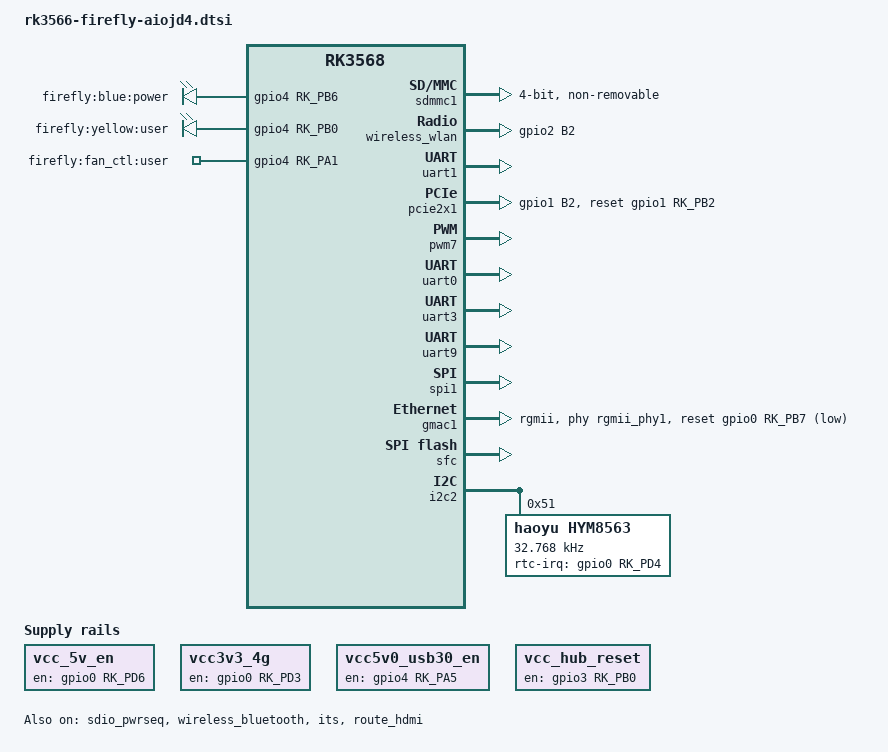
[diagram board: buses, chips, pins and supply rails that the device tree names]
// SPDX-License-Identifier: (GPL-2.0+ OR MIT)
/*
 * Copyright (c) 2020 Rockchip Electronics Co., Ltd.
 *
 */

#include "rk3568-firefly-port.dtsi"
#include "rk3566-diff.dtsi"

/ {
    vcc_5v_en: vcc-5v-regulator {
       compatible = "regulator-fixed";
       enable-active-high;
       regulator-always-on;
       regulator-boot-on;
       gpio = <&gpio0 RK_PD6 GPIO_ACTIVE_HIGH>;
       pinctrl-names = "default";
       pinctrl-0 = <&vcc_5v_drv>;
       regulator-name = "vcc_5v_en";
    };

    vcc3v3_4g: vcc3v3-4g-regulator {
       compatible = "regulator-fixed";
       enable-active-high;
       regulator-always-on;
       regulator-boot-on;
       gpio = <&gpio0 RK_PD3 GPIO_ACTIVE_HIGH>;
       pinctrl-names = "default";
       pinctrl-0 = <&pcie_4g_drv>;
       regulator-name = "vcc3v3_4g";
    };

    vcc5v0_usb30_en: vcc5v0-usb30-regulator {
       compatible = "regulator-fixed";
       enable-active-high;
       regulator-always-on;
       regulator-boot-on;
       gpio = <&gpio4 RK_PA5 GPIO_ACTIVE_HIGH>;
       pinctrl-names = "default";
       pinctrl-0 = <&vcc5v0_usb30_drv>;
       regulator-name = "vcc5v0_usb30_en";
    };

    vcc_hub_reset: vcc-hub-reset-regulator {
            compatible = "regulator-fixed";
            enable-active-high;
            gpio = <&gpio3 RK_PB0 GPIO_ACTIVE_HIGH>;
            pinctrl-names = "default";
            pinctrl-0 = <&vcc_hub_reset_en>;
            regulator-name = "vcc_hub_reset_en";
            regulator-always-on;
    };

    firefly_leds: leds {
        status = "okay";
        compatible = "gpio-leds";
        pinctrl-names = "default";
        pinctrl-0 =<&leds_gpio>;
        power_led: power {
            label = "firefly:blue:power";
            linux,default-trigger = "ir-power-click";
            default-state = "on";
            gpios = <&gpio4 RK_PB6 GPIO_ACTIVE_HIGH>;
        };

        user_led: user {
            label = "firefly:yellow:user";
            linux,default-trigger = "ir-user-click";
            default-state = "off";
            gpios = <&gpio4 RK_PB0 GPIO_ACTIVE_HIGH>;
        };
        fan_ctl: fan-ctl {
            label = "firefly:fan_ctl:user";
            linux,default-trigger = "ir-user-click";
            default-state = "on";
            gpios = <&gpio4 RK_PA1 GPIO_ACTIVE_HIGH>;
        };
    };
};

/* USB vbus config  */
&vcc5v0_host {
    gpio = <&gpio3 RK_PD2 0>;
    pinctrl-names = "default";
    pinctrl-0 = <&vcc5v0_host_vbus_en>;
};
&vcc5v0_otg {
    gpio = <&gpio3 RK_PD1 0>;
    pinctrl-names = "default";
    pinctrl-0 = <&vcc5v0_otg_vbus_en>;
};

/* WiFi config */
&sdmmc1 {
    max-frequency = <150000000>;
    supports-sdio;
    bus-width = <4>;
    disable-wp;
    cap-sd-highspeed;
    cap-sdio-irq;
    keep-power-in-suspend;
    mmc-pwrseq = <&sdio_pwrseq>;
    non-removable;
    pinctrl-names = "default";
    pinctrl-0 = <&sdmmc1_bus4 &sdmmc1_cmd &sdmmc1_clk>;
    sd-uhs-sdr104;
    rockchip,default-sample-phase = <90>;
    status = "okay";
};

&sdio_pwrseq {
    reset-gpios = <&gpio2 RK_PB1 GPIO_ACTIVE_LOW>;
    status = "okay";
};

&wifi_enable_h {
    rockchip,pins = <2 RK_PB1 RK_FUNC_GPIO &pcfg_pull_none>;
};

// iomux with GPIO2_B2(WIFI,host_wake_irq)
&uart8 {
    status = "disabled";
};

&wireless_wlan {
    wifi_chip_type = "ap6255";
    pinctrl-names = "default";
    pinctrl-0 = <&wifi_host_wake_irq>;
    //WIFI,poweren_gpio = <&gpio3 29 0>;
    WIFI,host_wake_irq = <&gpio2 RK_PB2 0>;
    status = "okay";
};

/* BT config */
&uart1 {
    pinctrl-names = "default";
    pinctrl-0 = <&uart1m0_xfer &uart1m0_ctsn>;
    status = "okay";
};

&wireless_bluetooth {
    uart_rts_gpios = <&gpio2 RK_PB5 GPIO_ACTIVE_LOW>;
    pinctrl-names = "default", "rts_gpio";
    pinctrl-0 = <&uart1m0_rtsn
        &bt_host_wake_gpio
        &bt_poweren
        &bt_host_wake_irq>;
    pinctrl-1 = <&uart1_rts_gpio>;
    BT,reset_gpio    = <&gpio2 RK_PB7 GPIO_ACTIVE_HIGH>;
    BT,wake_gpio     = <&gpio2 RK_PC1 GPIO_ACTIVE_HIGH>;
    BT,wake_host_irq = <&gpio2 RK_PC0 GPIO_ACTIVE_HIGH>;
    status = "okay";
};

&rk809_codec {
    hp-ctl-gpios = <&gpio3 RK_PD0 GPIO_ACTIVE_HIGH>;
    spk-ctl = <&gpio1 RK_PA4 GPIO_ACTIVE_HIGH>;
    io-channels = <&saradc 2>;
    hp-det-adc-value = <200>;
    hp-adc-drift-scope = <200>;
};
&spk_ctl_gpio{
	rockchip,pins = <1 RK_PA4 RK_FUNC_GPIO &pcfg_pull_up>;
};
&can1{
	status = "disabled";
};

&pcie2x1 {
    reset-gpios = <&gpio1 RK_PB2 GPIO_ACTIVE_HIGH>;
    pinctrl-names = "default";
    pinctrl-0 = <&pcie_reset_gpio>;
    /delete-property/ vpcie3v3-supply;
    status = "okay";
};

&sata2 {
    status = "disabled";
};

&its {
    status = "okay";
};

&pwm7 {
    status = "okay";
};

&uart0 {
    status = "okay";
};

&uart3 {
    pinctrl-0 = <&uart3m0_xfer>;
    status = "okay";
};

&uart9 {
    pinctrl-0 = <&uart9m1_xfer>;
    status = "okay";
};

&spi1 {
        status = "okay";
};

&pinctrl {
	vcc_5v {
		vcc_5v_drv: vcc-5v-drv{
			rockchip,pins = <0 RK_PD6 RK_FUNC_GPIO &pcfg_pull_up>;
		};
	};
	usb {
		vcc5v0_otg_vbus_en: vcc5v0-vbus-en {
			rockchip,pins = <3 RK_PD1 RK_FUNC_GPIO &pcfg_pull_none>;
		};
		vcc5v0_host_vbus_en: vcc5v0-host-en {
			rockchip,pins = <3 RK_PD2 RK_FUNC_GPIO &pcfg_pull_none>;
		};
	};

    wireless-wlan {
        wifi_host_wake_irq: wifi-host-wake-irq {
            rockchip,pins = <2 RK_PB2 RK_FUNC_GPIO &pcfg_pull_down>;
        };
    };

    wireless-bluetooth {
        uart1_rts_gpio: uart1-rts-gpio {
            rockchip,pins = <2  RK_PB5 RK_FUNC_GPIO &pcfg_pull_none>;
        };

        bt_host_wake_irq: bt-host-wake-irq {
            rockchip,pins = <2 RK_PC1 RK_FUNC_GPIO &pcfg_pull_down>;
        };
        bt_host_wake_gpio: bt-host-wake-gpio {
            rockchip,pins = <2 RK_PC0 RK_FUNC_GPIO &pcfg_pull_down>;
        };
        bt_poweren: bt-poweren {
            rockchip,pins = <2 RK_PB7 RK_FUNC_GPIO &pcfg_pull_down>;
        };
    };

    pcie {
        pcie_reset_gpio: pcie-reset-gpio {
			rockchip,pins = <1 RK_PB2 RK_FUNC_GPIO &pcfg_pull_none>;
		};
        pcie_4g_drv: pcie-4g-drv {
            rockchip,pins = <0 27 RK_FUNC_GPIO &pcfg_pull_up>;
        };
    };
    usb {
        vcc_hub_reset_en: vcc-hub-reset-en {
            rockchip,pins = <3 RK_PB0 RK_FUNC_GPIO &pcfg_pull_up>;
        };
        vcc5v0_usb30_drv: vcc5v0-usb30-drv {
            rockchip,pins = <4 RK_PA5 RK_FUNC_GPIO &pcfg_pull_up>;
        };
    };

    leds {
        leds_gpio: leds-gpio {
            rockchip,pins =
            /* led_power */
            <4 RK_PB6 RK_FUNC_GPIO &pcfg_pull_none>,
            /* led_user */
            <4 RK_PB0 RK_FUNC_GPIO &pcfg_pull_none>;
        };
    };
};

&gmac1 {
    phy-mode = "rgmii";
    clock_in_out = "input";

    snps,reset-gpio = <&gpio0 RK_PB7 GPIO_ACTIVE_LOW>;
    snps,reset-active-low;
    /* Reset time is 20ms, 100ms for rtl8211f */
    snps,reset-delays-us = <0 20000 100000>;

    assigned-clocks = <&cru SCLK_GMAC1_RX_TX>, <&cru SCLK_GMAC1>;
    assigned-clock-parents = <&cru SCLK_GMAC1_RGMII_SPEED>, <&gmac1_clkin>;

    pinctrl-names = "default";
    pinctrl-0 = <&gmac1m0_miim
             &gmac1m0_tx_bus2
             &gmac1m0_rx_bus2
             &gmac1m0_rgmii_clk
             &gmac1m0_rgmii_bus
             &gmac1m0_clkinout>;

    tx_delay = <0x49>;
    rx_delay = <0x2d>;

    phy-handle = <&rgmii_phy1>;
    status = "okay";
};

&sfc{
    status = "okay";
};

&i2c2 {
    status = "okay";
    pinctrl-0 = <&i2c2m0_xfer>;
    hym8563: hym8563@51 {
                status = "okay";
                compatible = "haoyu,hym8563";
                reg = <0x51>;
                #clock-cells = <0>;
                rtc-irq-gpio = <&gpio0 RK_PD4 IRQ_TYPE_EDGE_FALLING>;
                clock-frequency = <32768>;
                //clock-output-names = "xin32k";
                /* rtc_int is not connected */
        };

};
&i2c5{
    /delete-node/ hym8563@51;
};
&rk809 {
        rtc {
                status = "disabled";
        };
};
&route_hdmi{
    status = "okay";
    connect = <&vp0_out_hdmi>;
};

&dfi {
    status = "disabled";
};

&dmc {
    status = "disabled";
};

&vcc3v3_pcie{
    status="disabled";
};
